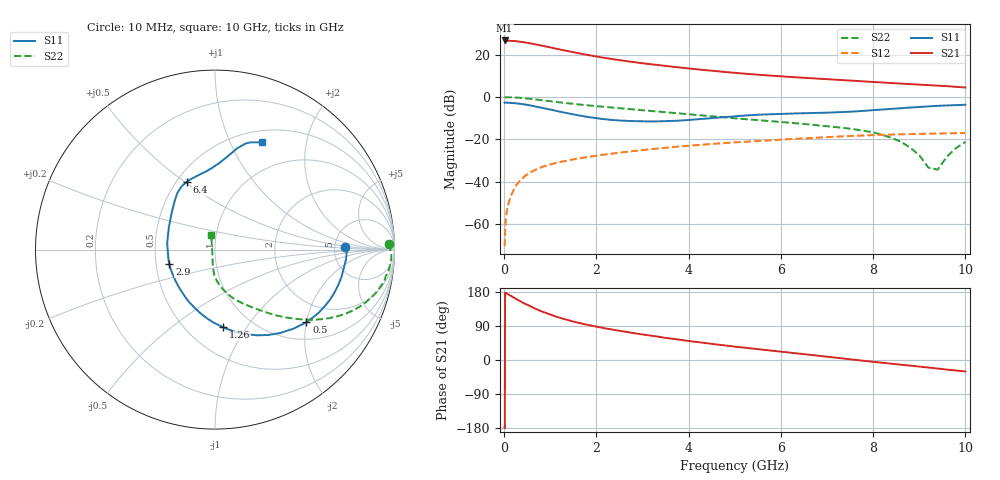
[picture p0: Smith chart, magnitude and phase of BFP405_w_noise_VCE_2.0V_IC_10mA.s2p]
! Infineon Technologies  Discrete & RF Semiconductors
! BFP405
! VCE =  2.0 V,  IC =  10 mA
! Common Emitter S-Parameters:  Jan 2016
# GHz  S  MA  R  50
!  f  S11  S21  S12  S22
! GHz  MAG  ANG  MAG  ANG  MAG  ANG  MAG  ANG
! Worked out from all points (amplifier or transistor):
!   233 points, 10 MHz to 10 GHz, reference 50 ohm
!   highest |S21| = 26.6 dB at 10 MHz (marker M1)
!   |S21| within 3 dB of that: start of sweep to 937.4 MHz
!   unconditionally stable (mu >= 1): start of sweep to 17.1 MHz; 2.554 GHz to end of sweep
!   at 200 MHz: K = 0.14, MSG = 35.3 dB, |S12| = -44.2 dB
!   at 1.74 GHz: K = 0.78, MSG = 24.3 dB, |S12| = -28.6 dB
!   at 10 GHz: K = 1.39, MAG = 7.0 dB, |S12| = -17.0 dB
!   lowest NFmin = 1.62 dB at 900 MHz
!   S11 on the Smith chart (normalised r, x): 10 MHz: 6.28, +0.34; 500 MHz: 1.43, -2.00; 1.26 GHz: 0.74, -0.79; 2.9 GHz: 0.59, -0.10; 6.4 GHz: 0.56, +0.51; 10 GHz: 0.64, +1.32
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0.01  0.7261 1.0  21.46 -177.8  0.0003 25.6  0.9676 1.8
0.02  0.7336 -1.4  21.35 177.8  0.0007 106.4  0.9766 0.0
0.07  0.7291 -5.7  21.15 174.7  0.0024 86.3  0.9827 -2.0
0.24  0.7081 -19.2  20.71 162.5  0.0076 81.3  0.9653 -8.4
0.4  0.6765 -31.3  19.7 151.7  0.0121 76.3  0.9384 -13.5
0.5  0.6502 -38.5  18.93 145.5  0.0149 73.4  0.9156 -16.5
0.6  0.6199 -45.4  18.05 139.5  0.0172 70.8  0.8907 -19.2
0.8  0.5594 -58.3  16.35 128.9  0.0217 66.6  0.8388 -23.9
1  0.502 -69.9  14.69 119.6  0.0255 63.2  0.7891 -27.7
1.26  0.4352 -84.0  12.79 109.5  0.0299 60.1  0.7304 -31.7
1.5  0.3861 -96.5  11.31 101.4  0.0336 58.0  0.6831 -34.8
1.68  0.356 -105.4  10.37 96.2  0.0363 56.6  0.6521 -36.8
2.2  0.2953 -130.8  8.251 83.3  0.0438 53.6  0.5772 -41.6
2.9  0.2663 -162.8  6.422 69.3  0.0541 49.5  0.4966 -47.4
3.4  0.2655 176.3  5.521 60.4  0.0616 46.2  0.4444 -51.4
4  0.2853 154.3  4.681 50.1  0.0704 42.1  0.3877 -56.7
5.1  0.356 128.6  3.614 34.0  0.0857 34.0  0.3062 -67.1
6.4  0.4091 112.5  2.865 16.8  0.1036 24.6  0.2347 -77.2
6.8  0.4186 106.0  2.688 11.4  0.1094 21.4  0.2137 -80.3
8.4  0.5219 82.5  2.114 -9.8  0.1291 6.9  0.1081 -95.1
9.4  0.615 73.9  1.848 -22.7  0.1369 -1.6  0.0192 148.3
10  0.6519 66.4  1.662 -30.3  0.1405 -6.0  0.0864 104.9
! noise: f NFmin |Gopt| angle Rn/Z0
0.9  1.62  0.2  6  0.32
1.8  1.88  0.14  1  0.29
2.4  2  0.12  4  0.31
3  2.03  0.08  20  0.29
4  2.19  0.05  -72  0.28
5  2.56  0.11  -98  0.28
